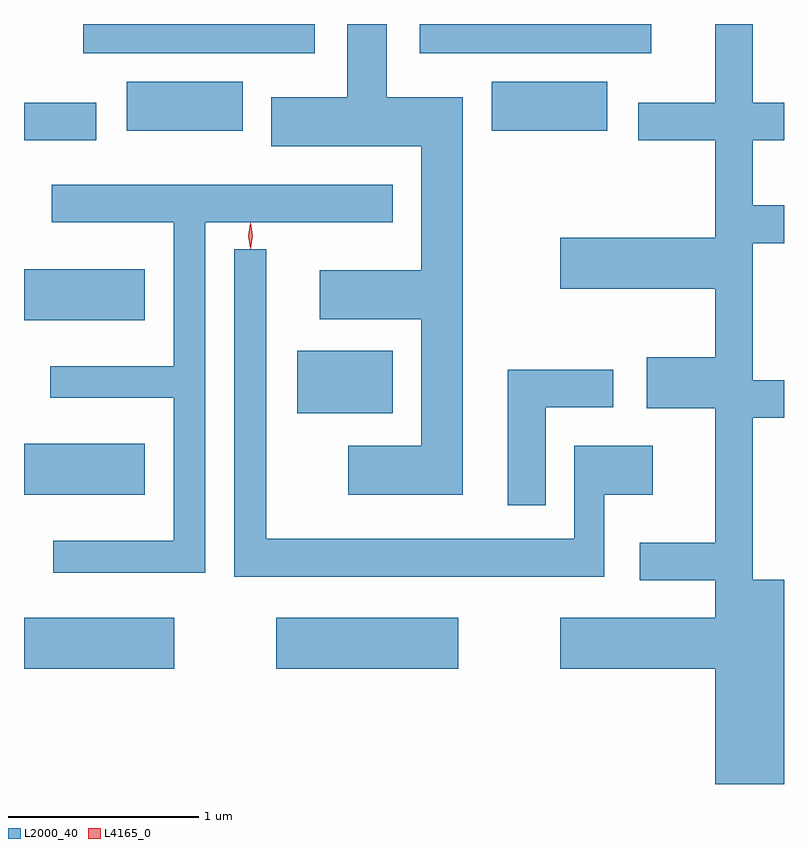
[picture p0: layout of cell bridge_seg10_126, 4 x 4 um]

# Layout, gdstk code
import gdstk
lib = gdstk.Library(unit=1e-6, precision=1e-09)
def R(c, l, rs):  # rectangles x0, y0, x1, y1
    for r in rs: c.add(gdstk.rectangle(r[:2], r[2:], *l))
def P(c, l, *ps):  # polygons
    for p in ps: c.add(gdstk.Polygon(p, *l))
L2000_40 = (2000, 40)
L4165_0 = (4165, 0)

bridge_seg10_126 = lib.new_cell('bridge_seg10_126')
R(bridge_seg10_126, L2000_40, [(1687.694,2139.966,1688.484,2140.234), (1689.021,2139.966,1689.979,2140.234), (1687.694,2140.881,1688.329,2141.149), (1689.131,2141.311,1689.634,2141.639), (1687.694,2141.801,1688.329,2142.069), (1687.694,2142.746,1688.074,2142.944), (1688.236,2142.796,1688.844,2143.054), (1690.156,2142.796,1690.764,2143.054), (1688.006,2143.206,1689.224,2143.359), (1689.776,2143.206,1690.994,2143.359)])
P(bridge_seg10_126, L2000_40, [(1691.694,2140.434),(1691.529,2140.434),(1691.529,2141.286),(1691.694,2141.286),(1691.694,2141.484),(1691.529,2141.484),(1691.529,2142.206),(1691.694,2142.206),(1691.694,2142.404),(1691.529,2142.404),(1691.529,2142.746),(1691.694,2142.746),(1691.694,2142.944),(1691.529,2142.944),(1691.529,2143.359),(1691.331,2143.359),(1691.331,2142.944),(1690.926,2142.944),(1690.926,2142.746),(1691.331,2142.746),(1691.331,2142.234),(1690.516,2142.234),(1690.516,2141.966),(1691.331,2141.966),(1691.331,2141.604),(1690.971,2141.604),(1690.971,2141.336),(1691.331,2141.336),(1691.331,2140.629),(1690.936,2140.629),(1690.936,2140.431),(1691.331,2140.431),(1691.331,2140.234),(1690.516,2140.234),(1690.516,2139.966),(1691.331,2139.966),(1691.331,2139.359),(1691.694,2139.359)],
  [(1690.004,2142.974),(1689.604,2142.974),(1689.604,2143.359),(1689.396,2143.359),(1689.396,2142.974),(1688.996,2142.974),(1688.996,2142.716),(1689.786,2142.716),(1689.786,2142.064),(1689.251,2142.064),(1689.251,2141.806),(1689.786,2141.806),(1689.786,2141.139),(1689.401,2141.139),(1689.401,2140.881),(1690.004,2140.881)],
  [(1688.649,2142.316),(1689.634,2142.316),(1689.634,2142.514),(1687.841,2142.514),(1687.841,2142.316),(1688.481,2142.316),(1688.481,2141.559),(1687.833,2141.559),(1687.833,2141.391),(1688.481,2141.391),(1688.481,2140.639),(1687.848,2140.639),(1687.848,2140.471),(1688.649,2140.471)],
  [(1690.749,2140.881),(1691.004,2140.881),(1691.004,2141.139),(1690.591,2141.139),(1690.591,2140.649),(1688.969,2140.649),(1688.969,2142.173),(1688.801,2142.173),(1688.801,2140.451),(1690.749,2140.451)],
  [(1690.439,2141.341),(1690.794,2141.341),(1690.794,2141.539),(1690.241,2141.539),(1690.241,2140.826),(1690.439,2140.826)])
P(bridge_seg10_126, L4165_0, [(1688.888,2142.174),(1688.887,2142.175),(1688.878,2142.244),(1688.887,2142.313),(1688.888,2142.314),(1688.888,2142.313),(1688.898,2142.244),(1688.888,2142.175)],
  [(1688.884,2142.178),(1688.884,2142.178),(1688.874,2142.244),(1688.884,2142.311),(1688.884,2142.311),(1688.884,2142.311),(1688.894,2142.244),(1688.884,2142.178)])

lib.write_gds('bridge_seg10_126.gds')
